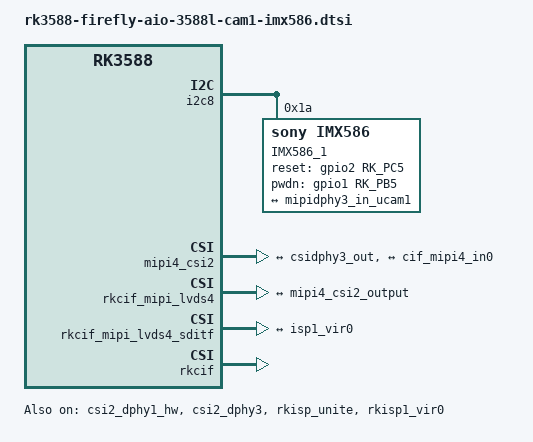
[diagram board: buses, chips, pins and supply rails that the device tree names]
// SPDX-License-Identifier: (GPL-2.0+ OR MIT)
/*
 * Copyright (c) 2021 Rockchip Electronics Co., Ltd.
 *
 */

&i2c8 {
	status = "okay";
	pinctrl-names = "default";
	pinctrl-0 = <&i2c8m4_xfer>;

	IMX586_1: IMX586-1@1a {
		compatible = "sony,imx586";
		reg = <0x1a>;
		clocks = <&cru CLK_MIPI_CAMARAOUT_M3>;
		clock-names = "xvclk";
		pinctrl-names = "default";
		pinctrl-0 = <&mipim0_camera3_clk>;
		power-domains = <&power RK3588_PD_VI>;
		//eeprom-ctrl = <&otp_eeprom>;

		reset-gpios = <&gpio2 RK_PC5 GPIO_ACTIVE_HIGH>;
		pwdn-gpios = <&gpio1 RK_PB5 GPIO_ACTIVE_HIGH>;

		rockchip,camera-module-index = <1>;
		rockchip,camera-module-facing = "back";
		rockchip,camera-module-name = "default";
		rockchip,camera-module-lens-name = "default";

		port {
			imx586_out1: endpoint {
				remote-endpoint = <&mipidphy3_in_ucam1>;
				data-lanes = <1 2 3 4>;
			};
		};
	};

	otp_eeprom: otp_eeprom@50 {
		compatible = "rk,otp_eeprom";
		status = "disabled";
		reg = <0x50>;
	};

};

&csi2_dphy1_hw { 
	status = "okay";
};


&csi2_dphy3 {
	status = "okay";
	ports {
		#address-cells = <1>;
		#size-cells = <0>;
		port@0 {
			reg = <0>;
			#address-cells = <1>;
			#size-cells = <0>;
			mipidphy3_in_ucam1: endpoint@1 {
				reg = <1>;
				remote-endpoint = <&imx586_out1>;
				data-lanes = <1 2 3 4>;
			};
		};
		port@1 {
			reg = <1>;
			#address-cells = <1>;
			#size-cells = <0>;

			csidphy3_out: endpoint@1 {
				reg = <1>;
				remote-endpoint = <&mipi4_csi2_input>;
			};
		};
	};
};

&mipi4_csi2 {
	status = "okay";
	ports {
		#address-cells = <1>;
		#size-cells = <0>;

		port@0 {
			reg = <0>;
			#address-cells = <1>;
			#size-cells = <0>;

			mipi4_csi2_input: endpoint@0 {
				reg = <0>;
				remote-endpoint = <&csidphy3_out>;
			};
		};

		port@1 {
			reg = <1>;
			#address-cells = <1>;
			#size-cells = <0>;

			mipi4_csi2_output: endpoint@0 {
				reg = <0>;
				remote-endpoint = <&cif_mipi4_in0>;
			};
		};
	};
};

&rkcif_mipi_lvds4 {
	status = "okay";
	port {
		cif_mipi4_in0: endpoint {
			remote-endpoint = <&mipi4_csi2_output>;
		};
	};
};

&rkcif_mipi_lvds4_sditf {
        status = "okay";
        port {
                mipi_lvds4_sditf: endpoint {
                        remote-endpoint = <&isp1_vir0>;
                };
        };
};
#if 0
&rkisp1 {
        status = "okay";
};

&isp1_mmu {
        status = "okay";
};
#else //sensor分辨率大于16M(4672x3504)需要2个isp合成处理
/* dual isp case need width 32 align， height 8 align */
&rkisp_unite_mmu {
        status = "okay";
};

&rkisp_unite {
        status = "okay";
};
&rkisp1_vir0 {
        status = "okay";
        rockchip,hw = <&rkisp_unite>;
};
#endif

&rkisp1_vir0 {
        status = "okay";
        port {
                #address-cells = <1>;
                #size-cells = <0>;
                isp1_vir0: endpoint@0 {
                        reg = <0>;
                        remote-endpoint = <&mipi_lvds4_sditf>;
                };
        };
};

&rkcif {
	status = "okay";
};

&rkcif_mmu {
	status = "okay";
};



